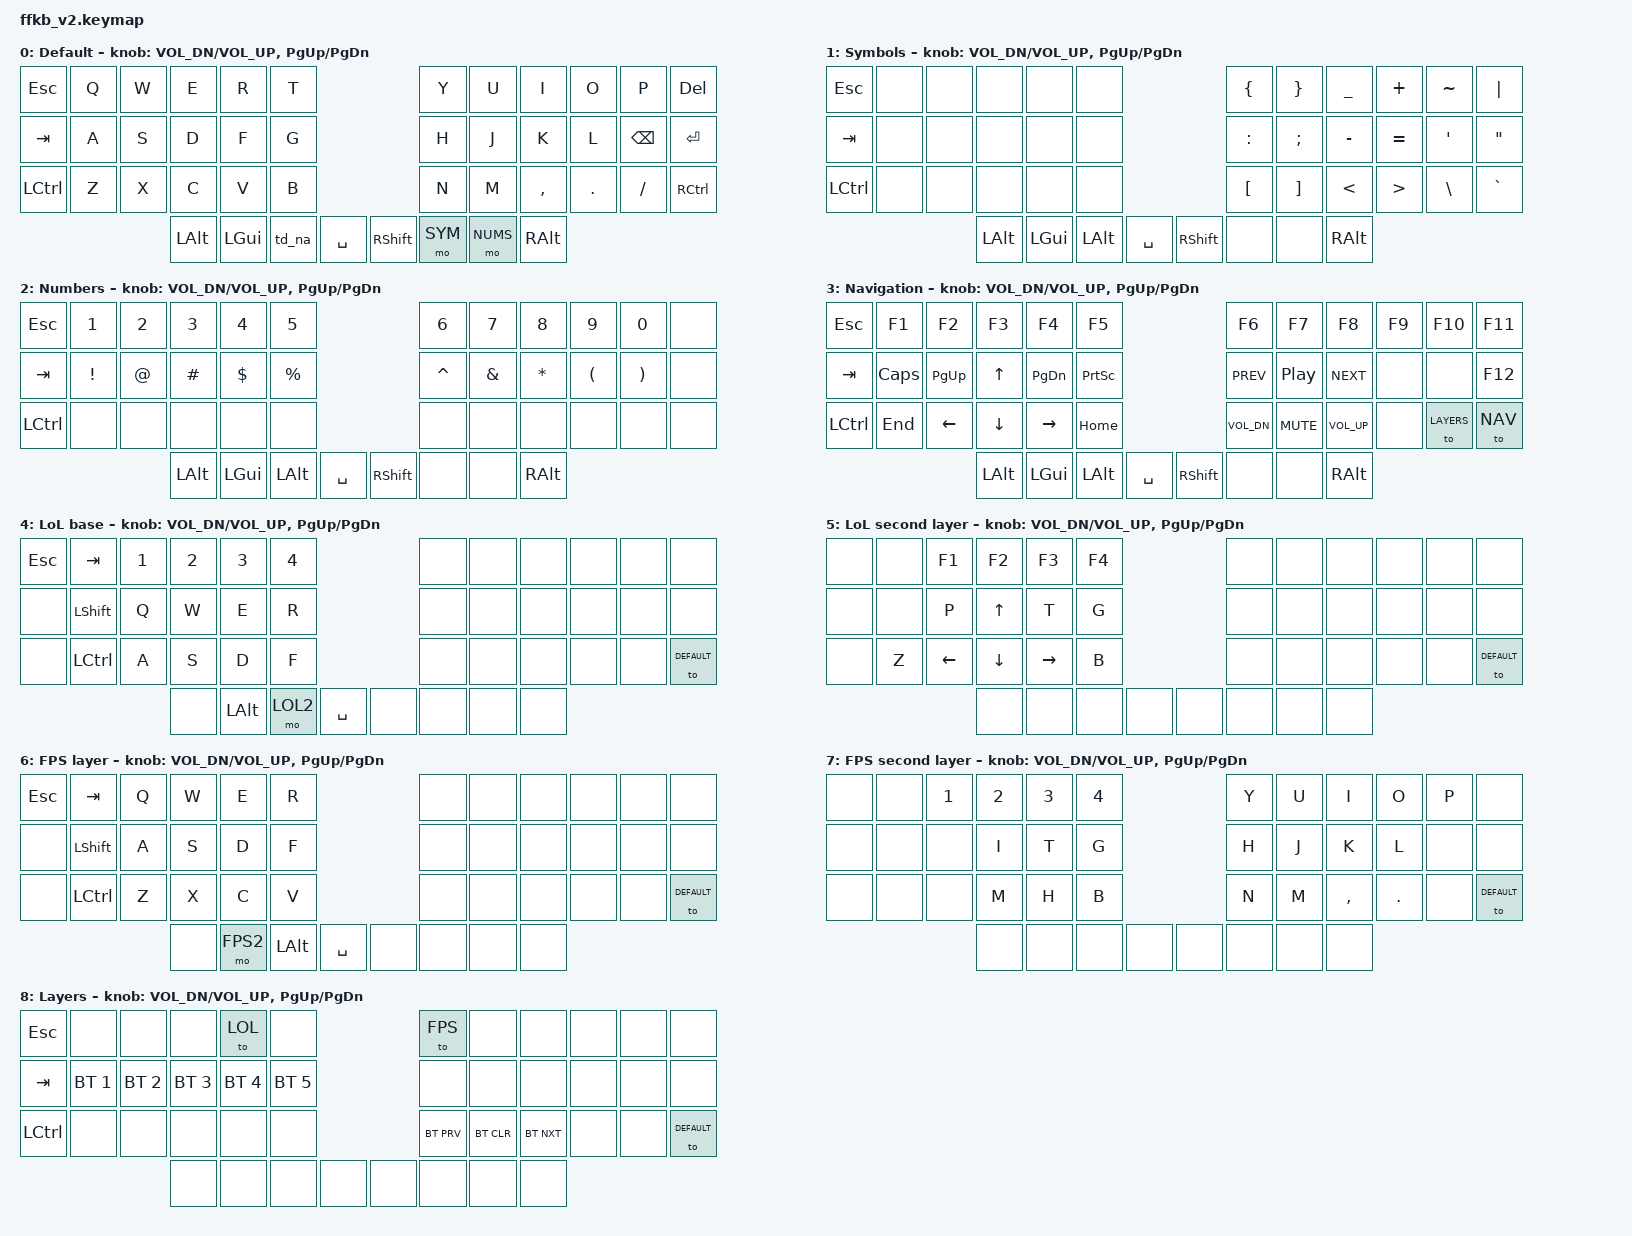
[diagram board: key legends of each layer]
/*
 * Copyright (c) 2020 The ZMK Contributors
 *
 * SPDX-License-Identifier: MIT
 */

#include <behaviors.dtsi>
#include <dt-bindings/zmk/keys.h>
#include <dt-bindings/zmk/bt.h>
#include <dt-bindings/zmk/ext_power.h>
#include <dt-bindings/zmk/outputs.h>
#include <dt-bindings/zmk/mouse.h>
#include <behaviors/mouse_keys.dtsi>

#define DEFAULT 0
#define SYM     1
#define NUMS    2
#define NAV     3
#define LOL     4
#define LOL2    5
#define FPS     6
#define FPS2    7
#define LAYERS  8

&caps_word {
    continue-list = <UNDERSCORE MINUS>;
};

/ {

    behaviors {

        ttl: tap_toggle_layer {
            compatible = "zmk,behavior-hold-tap";
            label = "TAP_TOGGLE_LAYER";
            #binding-cells = <2>;
            flavor = "hold-preferred";
            tapping-term-ms = <200>;
            bindings = <&kp>, <&sk>;
        };
    
        td_na: tap_dance_nav_alt {
            compatible = "zmk,behavior-tap-dance";
            label = "TAP_DANCE_NAV_ALT";
            #binding-cells = <0>;
            tapping-term-ms = <200>;
            bindings = <&mo NAV>, <&sk RALT>, <&to NAV>;
        };
    };

    keymap {
        compatible = "zmk,keymap";

        default_layer {
            label = "Default";

            sensor-bindings = <&inc_dec_kp C_VOL_DN C_VOL_UP &inc_dec_kp PG_UP PG_DN>;

            bindings = <
    &kp ESC    &kp Q        &kp W        &kp E       &kp R         &kp T                                       &kp Y         &kp U        &kp I         &kp O       &kp P        &kp DEL
    &kp TAB    &kp A        &kp S        &kp D       &kp F         &kp G                                       &kp H         &kp J        &kp K         &kp L       &kp BSPC     &kp RET 
    &kp LCTRL  &kp Z        &kp X        &kp C       &kp V         &kp B                                       &kp N         &kp M        &kp COMMA     &kp DOT     &kp SLASH    &kp RCTRL
                                         &kp LALT    &kp LGUI      &td_na        &kp SPACE     &kp RSHIFT      &mo SYM       &mo NUMS     &kp RALT 
            >;
        };

        sym_layer {
            label = "Symbols";
            
            sensor-bindings = <&inc_dec_kp C_VOL_DN C_VOL_UP &inc_dec_kp PG_UP PG_DN>;
            
            bindings = <
    &kp ESC    &none        &none        &none       &none         &none                                       &kp LBRC         &kp RBRC        &kp UNDER     &kp PLUS    &kp TILDE       &kp PIPE
    &kp TAB    &none        &none        &none       &none         &none                                       &kp COLON        &kp SEMI        &kp MINUS     &kp EQUAL   &kp APOS        &kp DQT
    &kp LCTRL  &none        &none        &none       &none         &none                                       &kp LBKT         &kp RBKT        &kp LT        &kp GT      &kp BSLH        &kp GRAVE
                                         &kp LALT    &kp LGUI      &kp LALT     &kp SPACE     &kp RSHIFT       &none            &none           &kp RALT
            >;
        };

        nums_layer {
            label = "Numbers";
            
            sensor-bindings = <&inc_dec_kp C_VOL_DN C_VOL_UP &inc_dec_kp PG_UP PG_DN>;
            
            bindings = <
    &kp ESC    &kp N1       &kp N2       &kp N3      &kp N4        &kp N5                                      &kp N6        &kp N7       &kp N8        &kp N9      &kp N0       &none
    &kp TAB    &kp EXCL     &kp AT       &kp HASH    &kp DLLR      &kp PRCNT                                   &kp CARET     &kp AMPS     &kp STAR      &kp LPAR    &kp RPAR     &none
    &kp LCTRL  &none        &none        &none       &none         &none                                       &none         &none        &none         &none       &none        &none
                                         &kp LALT    &kp LGUI      &kp LALT      &kp SPACE       &kp RSHIFT    &none         &none        &kp RALT
            >;
        };

        nav_layer {
            label = "Navigation";

            sensor-bindings = <&inc_dec_kp C_VOL_DN C_VOL_UP &inc_dec_kp PG_UP PG_DN>;
            
            bindings = <
    &kp ESC    &kp F1       &kp F2       &kp F3      &kp F4        &kp F5                                      &kp F6        &kp F7       &kp F8        &kp F9      &kp F10      &kp F11
    &kp TAB    &kp CAPS     &kp PG_UP    &kp UP      &kp PG_DN     &kp PSCRN                                   &kp C_PREV    &kp C_PP     &kp C_NEXT    &none       &none        &kp F12
    &kp LCTRL  &kp END      &kp LEFT     &kp DOWN    &kp RIGHT     &kp HOME                                    &kp C_VOL_DN  &kp C_MUTE   &kp C_VOL_UP  &none       &to LAYERS   &to NAV
                                         &kp LALT    &kp LGUI      &kp LALT     &kp SPACE        &kp RSHIFT    &none         &none        &kp RALT
            >;
        };

        lol_layer {
            label = "LoL base";
            
            sensor-bindings = <&inc_dec_kp C_VOL_DN C_VOL_UP &inc_dec_kp PG_UP PG_DN>;
            
            bindings = <
    &kp ESC    &kp TAB        &kp N1     &kp N2     &kp N3       &kp N4                                      &none         &none        &none         &none       &none        &none
    &none      &kp LSHIFT     &kp Q      &kp W      &kp E        &kp R                                       &none         &none        &none         &none       &none        &none
    &none      &kp LCTRL      &kp A      &kp S      &kp D        &kp F                                       &none         &none        &none         &none       &none        &to DEFAULT
                                         &none      &kp LALT     &mo LOL2       &kp SPACE         &none      &none         &none        &none
            >;
        };
		
        lol2_layer {
            label = "LoL second layer";
            
            sensor-bindings = <&inc_dec_kp C_VOL_DN C_VOL_UP &inc_dec_kp PG_UP PG_DN>;
            
            bindings = <
    &none    &none        &kp F1        &kp F2      &kp F3        &kp F4                                      &none         &none        &none         &none       &none        &none
    &none    &none        &kp P         &kp UP      &kp T         &kp G                                       &none         &none        &none         &none       &none        &none
    &none    &kp Z        &kp LEFT      &kp DOWN    &kp RIGHT     &kp B                                       &none         &none        &none         &none       &none        &to DEFAULT
                                        &none       &none         &none        &none              &none       &none         &none        &none
            >;
        };

        fps_layer {
            label = "FPS layer";

            sensor-bindings = <&inc_dec_kp C_VOL_DN C_VOL_UP &inc_dec_kp PG_UP PG_DN>;

            bindings = <
    &kp ESC  &kp TAB        &kp Q        &kp W       &kp E         &kp R                                       &none        &none        &none       &none       &none       &none
    &none    &kp LSHIFT     &kp A        &kp S       &kp D         &kp F                                       &none        &none        &none       &none       &none       &none
    &none    &kp LCTRL      &kp Z        &kp X       &kp C         &kp V                                       &none        &none        &none       &none       &none       &to DEFAULT
                                         &none       &mo FPS2      &kp LALT      &kp SPACE        &none        &none        &none        &none 
            >;
        };

        fps_layer2 {
            label = "FPS second layer";

            sensor-bindings = <&inc_dec_kp C_VOL_DN C_VOL_UP &inc_dec_kp PG_UP PG_DN>;

            bindings = <
    &none    &none          &kp N1       &kp N2      &kp N3        &kp N4                                      &kp Y         &kp U        &kp I         &kp O       &kp P        &none
    &none    &none          &none        &kp I       &kp T         &kp G                                       &kp H         &kp J        &kp K         &kp L       &none        &none 
    &none    &none          &none        &kp M       &kp H         &kp B                                       &kp N         &kp M        &kp COMMA     &kp DOT     &none        &to DEFAULT
                                         &none       &none         &none       &none              &none        &none         &none        &none 
            >;
        };

        layers_layer {
            label = "Layers";
            
            sensor-bindings = <&inc_dec_kp C_VOL_DN C_VOL_UP &inc_dec_kp PG_UP PG_DN>;
            
            bindings = <
    &kp ESC    &none        &none        &none        &to LOL       &none                                       &to FPS       &none        &none         &none       &none        &none
    &kp TAB    &bt BT_SEL 1 &bt BT_SEL 2 &bt BT_SEL 3 &bt BT_SEL 4  &bt BT_SEL 5                                &none         &none        &none         &none       &none        &none
    &kp LCTRL  &none        &none        &none        &none         &none                                       &bt BT_PRV    &bt BT_CLR   &bt BT_NXT    &none       &none        &to DEFAULT
                                         &none        &none         &none       &none             &none         &none         &none        &none
            >;
        };
		
    };
};
